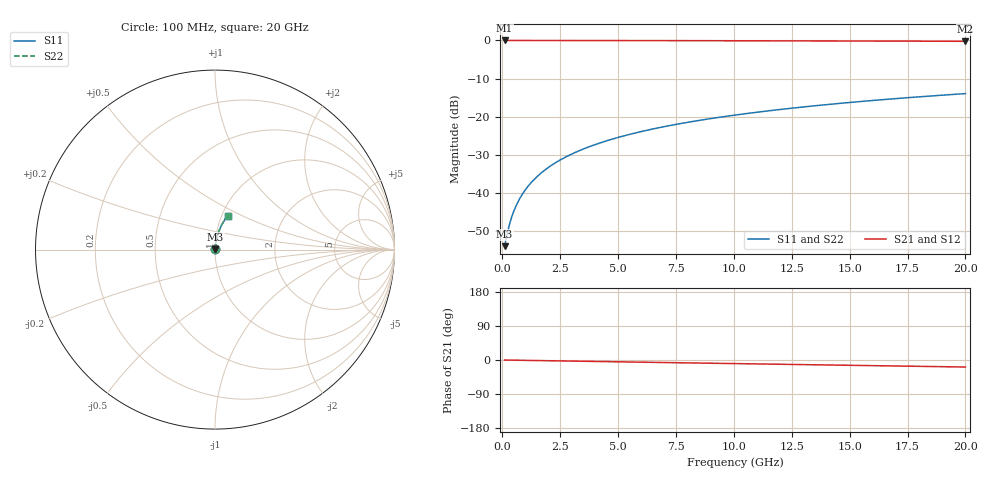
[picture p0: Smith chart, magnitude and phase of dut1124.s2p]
! Touchstone file exported from HFSS 2026.1.0
!  File:  C:/ffzhzh/LocalFiles/Ansys_Project_Files/temp_train_BSMRDL_1124_1783175185_22436.aedt
!  Generated:  10:27:40 PM Jul  4, 2026
!  Design:  BSMRDL
!  Project:  temp_train_BSMRDL_1124_1783175185_22436
! Variables:
!  h_bsmrdl = 4.53um
!  h_ox = 20um
!  h_rdl = 5um
!  h_sub = 80um
!  h_tmrdl = 5um
!  h_tsv = 80um
!  h_via = 3um
!  l_bsmrdl = 238.36um
!  l_sub = 638.36um
!  l_tmrdl = 200um
!  m_sub = 200um
!  pitch = 35.11um
!  r_tsv = 6um
!  s_tmrdl = 10um
!  w_bsmrdl = 11.87um
!  w_sub = 500um
!  w_tmrdl = 12um
!  x_tsv_center1 = 206um
!  x_tsv_center2 = 456.23um
!  x_tsv_center3 = 668.23um
!  x_tsv_center4 = 918.46um
!  x_tsv_center5 = 1130.46um
!  x_tsv_center6 = 1380.69um
# GHz S MA R 50.000000
! Terminal data exported
! Port[1] = BSM_RDL1_1_T1
! Port[2] = BSM_RDL1_1_T2
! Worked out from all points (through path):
!   200 points, 100 MHz to 20 GHz, reference 50 ohm
!   highest |S21| = -0.01 dB at 100 MHz (marker M1); lowest = -0.2 dB at 20 GHz (marker M2)
!   group delay of S21, straight-line fit = 2.57 ps
!   lowest |S11| = -53.8 dB at 100 MHz (marker M3), VSWR 1.00, Z = 50.2 + j0.115 ohm
!   |S11| at or under -10 dB: start of sweep to end of sweep
!   |S22| runs from -53.8 to -13.9 dB; largest |S21 - S12| = 2.6e-15
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0.1  0.002033 34.3  0.9983 -0.1  0.9983 -0.1  0.002033 34.3
! Gamma 0 0 0 0
! Port Impedance 50 0 50 0
0.2  0.002851 52.9  0.9983 -0.2  0.9983 -0.2  0.002851 52.9
0.3  0.003817 62.3  0.9982 -0.3  0.9982 -0.3  0.003817 62.3
0.4  0.004831 67.8  0.9982 -0.4  0.9982 -0.4  0.004831 67.8
0.5  0.005865 71.4  0.9982 -0.5  0.9982 -0.5  0.005865 71.4
0.6  0.006911 73.8  0.9981 -0.6  0.9981 -0.6  0.006911 73.8
0.8  0.009023 77.1  0.9981 -0.8  0.9981 -0.8  0.009023 77.1
1.1  0.01222 79.7  0.998 -1.1  0.998 -1.1  0.01222 79.7
1.5  0.01652 81.5  0.9978 -1.5  0.9978 -1.5  0.01652 81.5
1.8  0.01974 82.2  0.9977 -1.7  0.9977 -1.7  0.01974 82.2
2.1  0.02297 82.5  0.9976 -2.0  0.9976 -2.0  0.02297 82.5
2.7  0.02941 82.8  0.9972 -2.6  0.9972 -2.6  0.02941 82.8
3.5  0.03795 82.7  0.9967 -3.4  0.9967 -3.4  0.03795 82.7
4.2  0.04537 82.4  0.9962 -4.0  0.9962 -4.0  0.04537 82.4
5  0.05378 81.9  0.9954 -4.8  0.9954 -4.8  0.05378 81.9
5.9  0.06316 81.2  0.9946 -5.7  0.9946 -5.7  0.06316 81.2
6.8  0.07246 80.5  0.9936 -6.5  0.9936 -6.5  0.07246 80.5
8.3  0.08779 79.3  0.9919 -7.9  0.9919 -7.9  0.08779 79.3
10.1  0.106 77.8  0.9896 -9.6  0.9896 -9.6  0.106 77.8
13.4  0.1386 75.1  0.9848 -12.6  0.9848 -12.6  0.1386 75.1
16.7  0.1704 72.3  0.9791 -15.6  0.9791 -15.6  0.1704 72.3
20  0.2014 69.5  0.9728 -18.5  0.9728 -18.5  0.2014 69.5
